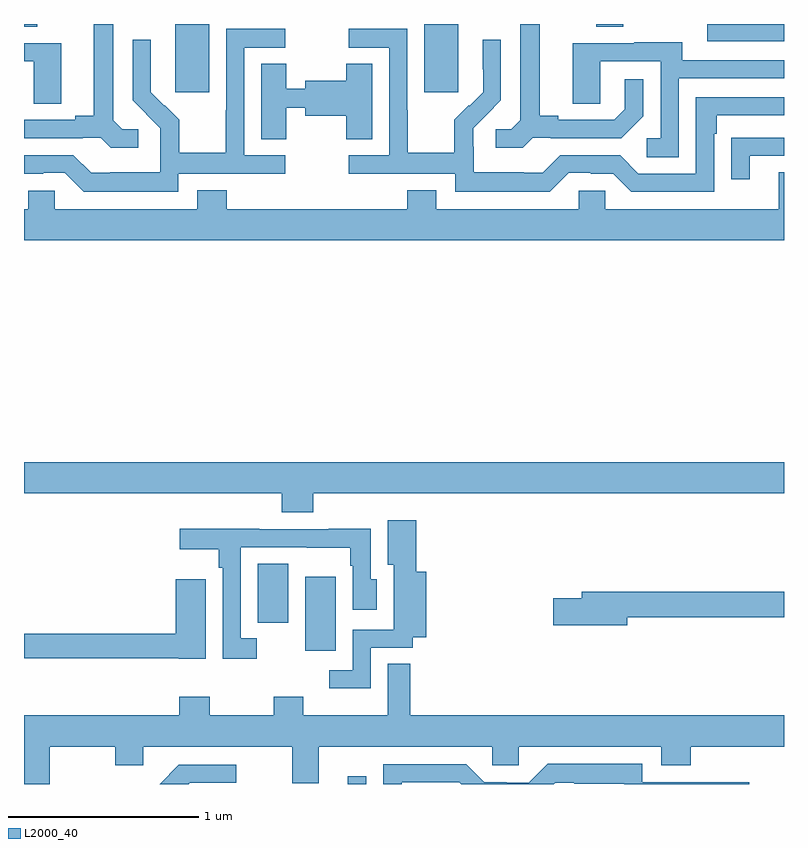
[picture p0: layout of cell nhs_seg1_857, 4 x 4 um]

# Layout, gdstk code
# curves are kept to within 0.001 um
import gdstk
lib = gdstk.Library(unit=1e-6, precision=1e-09)
def R(c, l, rs):  # rectangles x0, y0, x1, y1
    for r in rs: c.add(gdstk.rectangle(r[:2], r[2:], *l))
def P(c, l, *ps):  # polygons
    for p in ps: c.add(gdstk.Polygon(p, *l))
L2000_40 = (2000, 40)

nhs_seg1_857 = lib.new_cell('nhs_seg1_857')
R(nhs_seg1_857, L2000_40, [(158.705,554.199,158.801,554.239), (158.48,554.9,158.641,555.289), (158.231,555.048,158.392,555.359), (157.796,557.841,157.975,558.199), (159.107,557.841,159.286,558.199), (160.595,558.108,161,558.199), (157,558.184,157.069,558.199), (160.013,558.184,160.153,558.199)])
P(nhs_seg1_857, L2000_40, [(159.678,557.601),(159.772,557.601),(159.772,557.598),(160.144,557.598),(160.26,557.714),(160.26,557.908),(160.163,557.908),(160.163,557.751),(160.106,557.694),(159.811,557.694),(159.811,557.717),(159.715,557.717),(159.715,558.199),(159.611,558.199),(159.611,557.693),(159.564,557.646),(159.483,557.646),(159.483,557.549),(159.626,557.549)],
  [(157.6,557.646),(157.518,557.646),(157.471,557.693),(157.471,558.199),(157.367,558.199),(157.367,557.717),(157.271,557.717),(157.271,557.694),(157,557.694),(157,557.598),(157.31,557.598),(157.31,557.601),(157.404,557.601),(157.456,557.549),(157.6,557.549)],
  [(157.812,557.412),(158.374,557.412),(158.374,557.508),(158.16,557.508),(158.16,558.075),(158.374,558.075),(158.374,558.174),(158.064,558.174),(158.064,557.744),(158.062,557.744),(158.062,557.521),(157.817,557.521),(157.817,557.695),(157.74,557.772),(157.737,557.769),(157.667,557.84),(157.668,558.116),(157.572,558.116),(157.572,557.798),(157.718,557.65),(157.718,557.553),(157.716,557.553),(157.716,557.419),(157.453,557.419),(157.453,557.415),(157.353,557.415),(157.26,557.508),(157,557.508),(157,557.412),(157.1,557.412),(157.1,557.415),(157.215,557.415),(157.315,557.315),(157.812,557.315)],
  [(159.867,557.415),(159.983,557.415),(159.983,557.412),(160.101,557.412),(160.197,557.316),(160.632,557.316),(160.632,557.621),(160.645,557.621),(160.645,557.718),(161,557.718),(161,557.814),(160.536,557.814),(160.536,557.412),(160.233,557.412),(160.137,557.508),(159.822,557.508),(159.729,557.415),(159.629,557.415),(159.629,557.419),(159.366,557.419),(159.366,557.553),(159.364,557.553),(159.364,557.65),(159.51,557.798),(159.51,558.116),(159.414,558.116),(159.414,557.962),(159.416,557.962),(159.416,557.84),(159.345,557.769),(159.342,557.772),(159.265,557.695),(159.265,557.521),(159.021,557.521),(159.021,557.744),(159.018,557.744),(159.018,558.174),(158.709,558.174),(158.709,558.075),(158.922,558.075),(158.922,557.508),(158.709,557.508),(158.709,557.412),(159.27,557.412),(159.27,557.315),(159.767,557.315)],
  [(160.446,557.913),(161,557.913),(161,558.009),(160.465,558.009),(160.465,558.103),(160.211,558.103),(160.211,558.099),(159.887,558.099),(159.887,557.779),(160.032,557.779),(160.032,558.003),(160.35,558.003),(160.35,557.598),(160.278,557.598),(160.278,557.497),(160.446,557.497)],
  [(157.195,558.099),(157,558.099),(157,558.003),(157.05,558.003),(157.05,557.779),(157.195,557.779)],
  [(158.38,557.758),(158.48,557.758),(158.48,557.717),(158.695,557.717),(158.695,557.593),(158.833,557.593),(158.833,557.99),(158.695,557.99),(158.695,557.9),(158.48,557.9),(158.48,557.858),(158.38,557.858),(158.38,557.99),(158.249,557.99),(158.249,557.593),(158.38,557.593)],
  [(160.819,557.505),(161,557.505),(161,557.601),(160.825,557.601),(160.825,557.6),(160.723,557.6),(160.723,557.382),(160.819,557.382)],
  [(161,557.419),(160.973,557.419),(160.973,557.224),(160.059,557.224),(160.059,557.322),(159.921,557.322),(159.921,557.224),(159.169,557.224),(159.169,557.323),(159.017,557.323),(159.017,557.224),(158.066,557.224),(158.066,557.323),(157.913,557.323),(157.913,557.224),(157.161,557.224),(157.161,557.322),(157.023,557.322),(157.023,557.224),(157,557.224),(157,557.06),(161,557.06)],
  [(158.522,555.728),(161,555.728),(161,555.892),(157,555.892),(157,555.728),(158.357,555.728),(158.357,555.629),(158.522,555.629)],
  [(158.826,554.916),(159.046,554.916),(159.046,554.972),(159.116,554.972),(159.116,555.316),(159.064,555.316),(159.064,555.586),(158.915,555.586),(158.915,555.353),(158.945,555.353),(158.945,555.012),(158.73,555.012),(158.73,554.799),(158.607,554.799),(158.607,554.702),(158.826,554.702)],
  [(158.224,554.967),(158.142,554.967),(158.142,555.444),(158.488,555.444),(158.488,555.443),(158.718,555.443),(158.718,555.347),(158.73,555.347),(158.73,555.117),(158.857,555.117),(158.857,555.276),(158.826,555.276),(158.826,555.542),(158.605,555.542),(158.605,555.54),(158.239,555.54),(158.239,555.542),(157.821,555.542),(157.821,555.434),(158.026,555.434),(158.026,555.338),(158.046,555.338),(158.046,554.859),(158.224,554.859)],
  [(157.957,555.277),(157.799,555.277),(157.799,554.99),(157,554.99),(157,554.862),(157.815,554.862),(157.815,554.858),(157.957,554.858)],
  [(160.174,555.076),(161,555.076),(161,555.212),(159.935,555.212),(159.935,555.176),(159.786,555.176),(159.786,555.034),(160.174,555.034)],
  [(157.135,554.396),(157.48,554.396),(157.48,554.297),(157.627,554.297),(157.627,554.396),(158.411,554.396),(158.411,554.202),(158.551,554.202),(158.551,554.396),(159.465,554.396),(159.465,554.298),(159.603,554.298),(159.603,554.396),(160.355,554.396),(160.355,554.297),(160.508,554.297),(160.508,554.396),(161,554.396),(161,554.56),(159.034,554.56),(159.034,554.831),(158.915,554.831),(158.915,554.56),(158.469,554.56),(158.469,554.659),(158.314,554.659),(158.314,554.56),(157.977,554.56),(157.977,554.659),(157.817,554.659),(157.817,554.56),(157,554.56),(157,554.199),(157.135,554.199)],
  [(158.988,554.208),(159.291,554.208),(159.3,554.199),(159.789,554.199),(159.795,554.205),(159.895,554.205),(159.895,554.201),(160.158,554.201),(160.158,554.199),(160.816,554.199),(160.816,554.208),(160.254,554.208),(160.254,554.305),(159.757,554.305),(159.657,554.205),(159.542,554.205),(159.542,554.208),(159.423,554.208),(159.327,554.304),(158.892,554.304),(158.892,554.199),(158.988,554.199)],
  [(157.872,554.205),(158.116,554.205),(158.116,554.301),(157.815,554.301),(157.714,554.199),(157.866,554.199)])

lib.write_gds('nhs_seg1_857.gds')
